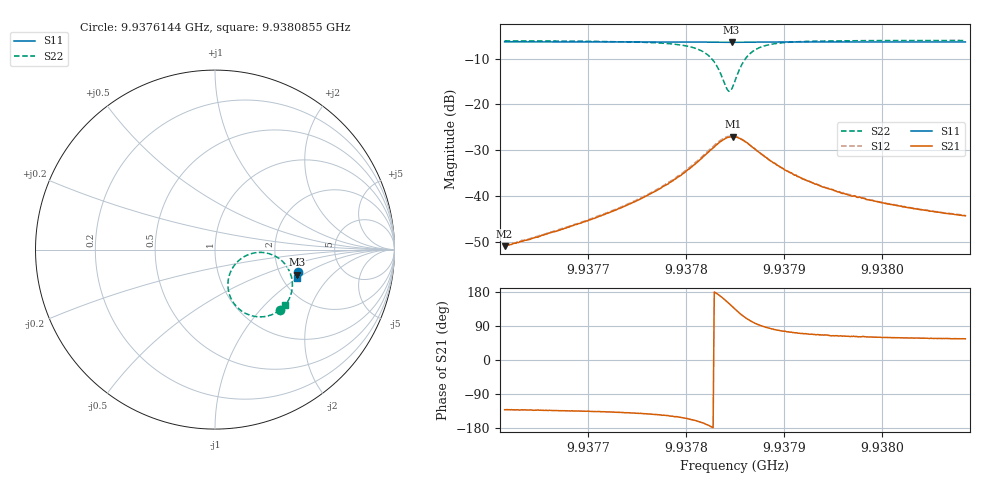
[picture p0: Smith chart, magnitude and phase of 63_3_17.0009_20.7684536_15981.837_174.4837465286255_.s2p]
#  HZ  S  RI  R  50.00
! Rohde & Schwarz Vector Network Analyzer
! Rohde-Schwarz,ZNB20-2Port,1311601062101988,3.16
! Created: UTC 3/20/2024, 10:54:54 PM
! freq[Hz]  re:S11  im:S11  re:S21  im:S21  re:S12  im:S12  re:S22  im:S22
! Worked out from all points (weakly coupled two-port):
!   401 points, 9.9376144 GHz to 9.9380855 GHz, reference 50 ohm
!   highest |S21| = -27.09 dB at 9.9378476 GHz (marker M1); lowest = -51.0 dB at 9.9376144 GHz (marker M2)
!   lowest |S11| = -6.5 dB at 9.9378464 GHz (marker M3), VSWR 2.81, Z = 122 - j44 ohm
!   |S11| at or under -10 dB: nowhere
!   |S22| runs from -17.2 to -6.0 dB; largest |S21 - S12| = 0.0027
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9.9376144e9  0.4651 -0.1266  -0.00185 -0.00212  -0.00189 -0.00213  0.3627 -0.3363
9.9376933e9  0.4631 -0.132  -0.00357 -0.0036  -0.0037 -0.00362  0.3429 -0.3497
9.9377357e9  0.4618 -0.1351  -0.00568 -0.00503  -0.00591 -0.00501  0.322 -0.3603
9.93777221e9  0.4605 -0.1378  -0.00964 -0.00685  -0.00994 -0.00685  0.2858 -0.3713
9.93780047e9  0.459 -0.1399  -0.0169 -0.00825  -0.0176 -0.00799  0.2231 -0.3724
9.93781813e9  0.4575 -0.141  -0.0264 -0.00618  -0.0275 -0.00544  0.1471 -0.3414
9.93782755e9  0.4563 -0.1412  -0.0334 -0.000592  -0.0346 0.000441  0.0967 -0.2863
9.9378358e9  0.4553 -0.1408  -0.0385 0.00897  -0.0394 0.0111  0.0719 -0.197
9.93784169e9  0.4549 -0.1399  -0.0388 0.0188  -0.0387 0.0214  0.0898 -0.1171
9.93784404e9  0.4549 -0.1396  -0.0373 0.0229  -0.0369 0.0255  0.1083 -0.0867
9.9378464e9  0.4549 -0.1392  -0.0351 0.0266  -0.0345 0.0291  0.1329 -0.0604
9.93784757e9  0.4551 -0.1391  -0.0338 0.0285  -0.0328 0.031  0.1473 -0.0488
9.93784993e9  0.4553 -0.1387  -0.0308 0.0317  -0.0295 0.0337  0.1779 -0.0315
9.93785582e9  0.4563 -0.1383  -0.0214 0.0359  -0.0198 0.0372  0.2578 -0.0155
9.93786053e9  0.457 -0.1385  -0.0144 0.0362  -0.0127 0.037  0.3134 -0.0266
9.93787231e9  0.4582 -0.1395  -0.00248 0.031  -0.00145 0.0312  0.3947 -0.0867
9.9378829e9  0.4585 -0.1408  0.00215 0.0256  0.00289 0.0255  0.4219 -0.1378
9.93789939e9  0.4587 -0.1427  0.00477 0.0192  0.00533 0.019  0.4316 -0.1924
9.93792883e9  0.458 -0.1453  0.00515 0.0129  0.00562 0.0128  0.425 -0.243
9.9379677e9  0.4571 -0.1482  0.00481 0.00887  0.00486 0.00909  0.4134 -0.2743
9.93800774e9  0.4561 -0.1511  0.00416 0.00697  0.00432 0.00695  0.4042 -0.2911
9.93808546e9  0.4541 -0.1563  0.00338 0.00501  0.00351 0.00499  0.3917 -0.309
